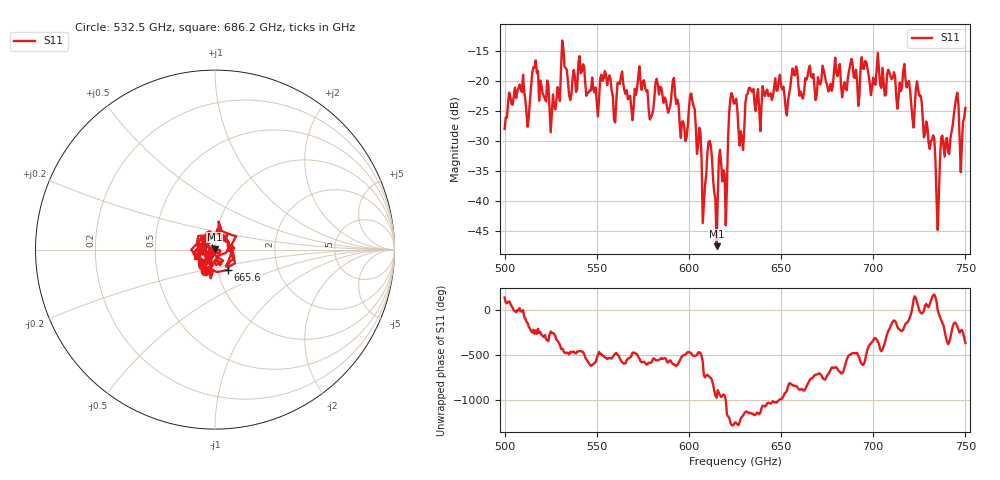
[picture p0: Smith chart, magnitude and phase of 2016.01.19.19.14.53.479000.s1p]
!Created with skrf (http://scikit-rf.org).
# GHz S RI R 50.0
!freq ReS11 ImS11
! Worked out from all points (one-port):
!   401 points, 500 GHz to 750 GHz, reference 50 ohm
!   lowest |S11| = -47.6 dB at 615 GHz (marker M1), VSWR 1.01, Z = 49.9 + j0.406 ohm
!   |S11| at or under -10 dB: start of sweep to end of sweep
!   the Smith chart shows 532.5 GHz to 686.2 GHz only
!   S11 on the Smith chart (normalised r, x): 532.5 GHz: 0.87, -0.21; 665.6 GHz: 1.13, -0.26; 686.2 GHz: 0.81, -0.05
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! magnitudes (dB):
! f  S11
! 500 GHz  -28.0
! 512.5 GHz  -27.6
! 516.9 GHz  -16.6
! 526.2 GHz  -22.2
! 531.2 GHz  -13.2
! 532.5 GHz  -17.6
! 535.6 GHz  -23.2
! 562.5 GHz  -20.5
! 593.8 GHz  -23.1
! 601.9 GHz  -23.3
! 608.1 GHz  -40.5
! 611.2 GHz  -30.0
! 615 GHz  -47.6
! 619.4 GHz  -35.5
! 622.5 GHz  -22.9
! 625 GHz  -23.6
! 628.8 GHz  -29.5
! 632.5 GHz  -21.2
! 656.2 GHz  -17.9
! 665.6 GHz  -17.4
! 686.2 GHz  -19.4
! 687.5 GHz  -17.3
! 718.8 GHz  -20.4
! 725 GHz  -22.4
! 735 GHz  -44.9
! 745 GHz  -22.8
! 748.1 GHz  -30.3
! 750 GHz  -24.5
